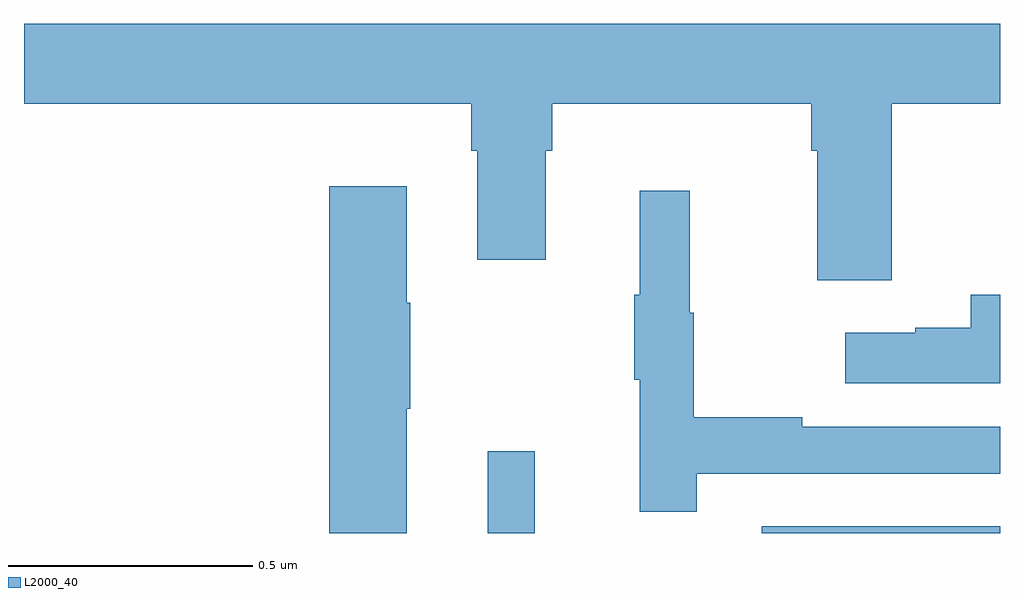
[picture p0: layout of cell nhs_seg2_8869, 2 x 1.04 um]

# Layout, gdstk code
import gdstk
lib = gdstk.Library(unit=1e-6, precision=1e-09)
def R(c, l, rs):  # rectangles x0, y0, x1, y1
    for r in rs: c.add(gdstk.rectangle(r[:2], r[2:], *l))
def P(c, l, *ps):  # polygons
    for p in ps: c.add(gdstk.Polygon(p, *l))
L2000_40 = (2000, 40)

nhs_seg2_8869 = lib.new_cell('nhs_seg2_8869')
R(nhs_seg2_8869, L2000_40, [(222.95,602.8,223.047,602.968), (223.512,602.8,224,602.814)])
P(nhs_seg2_8869, L2000_40, [(222,603.68),(222.917,603.68),(222.917,603.584),(222.929,603.584),(222.929,603.36),(223.069,603.36),(223.069,603.584),(223.082,603.584),(223.082,603.68),(223.613,603.68),(223.613,603.584),(223.625,603.584),(223.625,603.318),(223.778,603.318),(223.778,603.68),(224,603.68),(224,603.844),(222,603.844)],
  [(222.784,603.055),(222.792,603.055),(222.792,603.272),(222.784,603.272),(222.784,603.511),(222.626,603.511),(222.626,602.8),(222.784,602.8)],
  [(223.379,602.922),(224,602.922),(224,603.018),(223.595,603.018),(223.595,603.038),(223.372,603.038),(223.372,603.252),(223.364,603.252),(223.364,603.502),(223.262,603.502),(223.262,603.289),(223.251,603.289),(223.251,603.115),(223.262,603.115),(223.262,602.844),(223.379,602.844)],
  [(224,603.289),(223.94,603.289),(223.94,603.221),(223.826,603.221),(223.826,603.211),(223.683,603.211),(223.683,603.107),(224,603.107)])

lib.write_gds('nhs_seg2_8869.gds')
